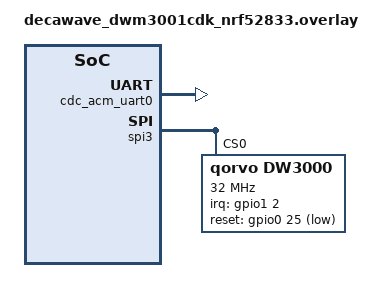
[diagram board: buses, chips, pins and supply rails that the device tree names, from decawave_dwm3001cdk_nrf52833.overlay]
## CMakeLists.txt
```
cmake_minimum_required(VERSION 3.20.0)
find_package(Zephyr REQUIRED HINTS $ENV{ZEPHYR_BASE})

project(mn-DWM3001CDK-basics)

add_subdirectory(lib/dwt_uwb_driver)

target_sources(app PRIVATE 
    src/main.c
    src/threads/dw3000_thread.c
)

target_include_directories(app PRIVATE src/threads/include)

target_link_libraries(app PRIVATE uwb_driver)
```

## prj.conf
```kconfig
CONFIG_SPI=y

CONFIG_LOG=y
CONFIG_LOG_DEFAULT_LEVEL=3

CONFIG_PRINTK=y
CONFIG_MAIN_STACK_SIZE=4096
CONFIG_CBPRINTF_FP_SUPPORT=y

CONFIG_USB_DEVICE_STACK=y

CONFIG_CONSOLE=y
CONFIG_UART_LINE_CTRL=y
CONFIG_LOG_MODE_IMMEDIATE=y

CONFIG_EVENTS=y
CONFIG_ENTROPY_GENERATOR=y
```

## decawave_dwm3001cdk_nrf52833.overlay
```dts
// To get started, press Ctrl+Space to bring up the completion menu and view the available nodes.

// You can also use the buttons in the sidebar to perform actions on nodes.
// Actions currently available include:

// * Enabling / disabling the node
// * Adding the bus to a bus
// * Removing the node
// * Connecting ADC channels

// For more help, browse the DeviceTree documentation at https: //docs.zephyrproject.org/latest/guides/dts/index.html
// You can also visit the nRF DeviceTree extension documentation at https: //docs.nordicsemi.com/bundle/nrf-connect-vscode/page/guides/ncs_configure_app.html#devicetree-support-in-the-extension
/ {
    chosen {
        zephyr,console = &cdc_acm_uart0;
        zephyr,shell-uart = &cdc_acm_uart0;
    };
};

&zephyr_udc0 {
    cdc_acm_uart0: cdc_acm_uart0 {
        compatible = "zephyr,cdc-acm-uart";
    };
};

&spi3 {
    dw3000: dw3000@0 {
        compatible = "qorvo,dw3000";
        spi-max-frequency = <32000000>;
        spi-min-frequency = <2000000>;
        reg = <0>;
        irq-gpios = <&gpio1 2 GPIO_ACTIVE_HIGH>;
        reset-gpios = <&gpio0 25 GPIO_ACTIVE_LOW>;

        // dwt_config_t default values:
        chan = <5>;
        txcode = <9>;
        rxcode = <9>;
        sfdtype = <1>;
        datarate = <0>;
        txpreamblength = <1024>;
        rxpac = <1>;
        phrmode = <0>;
        phrrate = <0>;
        stsmode = <0>;
        stslength = <7>;
        pdoamode = <0>;
    };
};
```

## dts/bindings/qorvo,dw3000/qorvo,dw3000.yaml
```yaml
description: Qorvo DW3000

compatible: "qorvo,dw3000"

include: spi-device.yaml

properties:
  reset-gpios:
    type: phandle-array
    required: true
    description: DW_RST, reset pin (active low)

  irq-gpios:
    type: phandle-array
    required: true
    description: DW_IRQ, interrupt pin (active high)

  spi-min-frequency:
    type: int
    required: true
    default: 2000000
    description: DW3000 slow rate for board initialization, in Hz.

  chan:
    type: int
    required: true
    default: 5
    enum:
      - 5 # 6489.6 MHz PRF
      - 9 # 7987.2 MHz PRF
    description: |
      The chan parameter sets the UWB channel number, (defining the centre 
      frequency and bandwidth). The supported channels are 5 (6489.6 MHz PRF)
      and 9 (7987.2 MHz PRF).

  txcode:
    type: int
    required: true
    default: 9
    enum:
      - 3 # 16 MHz PRF
      - 4 # 16 MHz PRF
      - 9 # 64 MHz PRF
      - 10 # 64 MHz PRF
      - 11 # 64 MHz PRF
      - 12 # 64 MHz PRF
      - 25 # SCP
      - 26 # SCP
      - 27 # SCP
      - 29 # SCP
      - 29 # SCP
    description: |
      The txCode and rxCode parameters select the preamble codes to use in the
      transmitter and the receiver; these are generally both set to the same 
      values.  For correct operation of the device, the selected preamble code
      should follow the rules of IEEE 802.15.4-2015 UWB with respect to which
      codes are allowed in the particular channel and PRF configuration, this
      is shown in Table 2 in the DW3XXX Software API Guide. The code will also
      define the PRF (pulse repetition frequency) used.

  rxcode:
    type: int
    required: true
    default: 9
    enum:
      - 3 # 16 MHz PRF
      - 4 # 16 MHz PRF
      - 9 # 64 MHz PRF
      - 10 # 64 MHz PRF
      - 11 # 64 MHz PRF
      - 12 # 64 MHz PRF
      - 25 # SCP
      - 26 # SCP
      - 27 # SCP
      - 29 # SCP
      - 29 # SCP
    description: |
      See txCode above.  Generally set the same as txCode.

  sfdtype:
    type: int
    required: true
    default: 1
    enum:
      - 0 # IEEE 8-bit ternary
      - 1 # Qorvo proprietary 8-bit
      - 2 # Qorvo proprietary 16-bit
      - 3 # IEEE 8-bit binary (4z)
      - 8 # IEEE, and Qorvo 8-bit are length 8
      - 16 # Qorvo 16-bit is length 16
    description: |
      The sfdType parameter enables the use of one of 4 possible SFD (Start 
      Frame Delimiter) sequences. The supported values are: 0 - short IEEE 
      8-bit standard, 1 - DW 8-bit, 2 - DW 16-bit, 3 - 4z BPRF) DW 8 and 16 
      bit sequences, which Decawave has found to be more robust than that 
      specified in the IEEE 802.15.4 standard, give improved performance.

  datarate:
    type: int
    required: true
    default: 0
    enum:
      - 0 # 850 kbps
      - 1 # 6.8 Mbps
      - 2 # No data (SP3 packet format)
    description: |
      The dataRate parameter specifies the data rate to be one of 850kbps or
      6800kbps, via symbolic definitions DWT_BR_850K and DWT_BR_6M8.

  txpreamblength:
    type: int
    required: true
    default: 1024
    enum:
      - 16
      - 32
      - 64 # standard
      - 128
      - 256
      - 512
      - 1024 # standard
      - 1536
      - 2048
      - 4096 # standard
    description: |
      The txPreambLength parameter specifies preamble length which has a range
      of values given by symbolic definitions: DWT_PLEN_4096, DWT_PLEN_2048,
      DWT_PLEN_1536, DWT_PLEN_1024, DWT_PLEN_512, DWT_PLEN_256,
      DWT_PLEN_128, DWT_PLEN_64, DWT_PLEN_32. Table 3 in the DW3XXX Software
      API Guide gives recommended preamble sequence lengths to use depending 
      on the data rate. 

  rxpac:
    type: int
    required: true
    default: 1
    enum:
      - 0 # PAC 8 (txPreambLength >= 64, data rate 6.81 Mbps)
      - 1 # PAC 16 (txPreambLength >= 128, data rate 850 kbps)
      - 2 # PAC 32 (txPreambLength == 512)
      - 3 # PAC 4 (txPreambLength == 32, data rate 6.81 Mbps)
    description: |
      The rxPAC parameter specifies the Preamble Acquisition Chunk size to use.
      Allowed values are DWT_PAC8 (0), DWT_PAC16 (1), DWT_PAC32 (2) or 
      DWT_PAC4 (3).  Table 4 in the DW3XXX Software API Guide gives the 
      recommended PAC size to use in the receiver depending on the preamble 
      length being used in the transmitter. PAC size is specified in preamble 
      symbols, which are approximately 1 µs each.

  phrmode:
    type: int
    required: true
    default: 0
    enum:
      - 0 # standard PHR mode (frame length of 5 - 127)
      - 1 # extended PHR mode (frame length of 5 - 1023)
    description: |
      The phrMode parameter selects between either the standard or extended PHR
      mode is set, either DWT_PHRMODE_STD (0) for standard length frames 5 to
      127 octets long or non-standard DWT_PHRMODE_EXT (1) allowing frames of 
      length 5 to 1023 octets long.

  phrrate:
    type: int
    required: true
    default: 0
    enum:
      - 0 # standard PHR rate, 850 kbps
      - 1 # PHR sent at data rate, 6.8 Mbps
    description: |
      The phrRate parameter selects between either using the standard 850 kbps
      rate for PHR symbols or using a higher rate; same as the data rate.

  sfdto:
    type: int
    required: false
    default: 1017 # default txPreambLength + 1 + sfdType length - rxPAC
    description: |
      The sfdTO parameter sets the SFD timeout value. The purpose of the SFD
      detection timeout is to recover from the occasional false preamble 
      detection events that may occur. By default, this value is 
      4096 + 64 + 1 symbols, which is just longer the longest possible preamble 
      and SFD sequence. This is the maximum value that is sensible. When it is 
      known that a shorter preamble is being used then the value can be reduced 
      appropriately. The function does not allow a value of zero. (If a 0 value 
      is selected the default value of 4161 symbols (DWT_SFDTOC_DEF) will be 
      used). The recommended value is:
        preamble length + 1 + SFD length \- PAC size.

  stsmode:
    type: int
    required: true
    default: 0
    enum:
      - 0 # STS is off (SP0)
      - 1 # STS mode 1 (SP1)
      - 2 # STS mode 2 (SP2)
      - 3 # STS with no data (SP3)
      - 8 # enable super deterministic codes
      - 11
    description: |
      The stsMode parameter sets one of four possible STS modes: no STS, STS
      before PHR, STS after data, or no data mode.

  stslength:
    type: int
    required: true
    default: 7
    enum:
      - 1 # DWT_STS_LEN_16
      - 3 # DWT_STS_LEN_32
      - 7 # DWT_STS_LEN_64
      - 15 # DWT_STS_LEN_128
      - 31 # DWT_STS_LEN_256
      - 63 # DWT_STS_LEN_512
      - 127 # DWT_STS_LEN_1024
      - 255 # DWT_STS_LEN_2048
    description: |
      The stsLength parameter specifies STS length. The API supports the 
      lengths defined by the dwt_sts_lengths_e. 

  pdoamode:
    type: int
    required: true
    default: 0
    enum:
      - 0 # PDOA off
      - 1 # PDOA mode 1
      - 3 # PDOA mode 3
    description: |
      The pdoaMode parameter configures one of three possible PDOA modes: no
      PDOA, mode 1 (PDOA is calculated between Ipatov POA and STS POA), mode
      3 (PDOA is calculated between two STS blocks
```

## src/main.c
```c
#include <zephyr/kernel.h>
#include <zephyr/logging/log.h>
#include <zephyr/usb/usb_device.h>

#include "dw3000_thread.h"

LOG_MODULE_REGISTER(main_thread, LOG_LEVEL_INF);

#define DW3000_THREAD_STACK_SIZE 4096
K_THREAD_STACK_DEFINE(dw3000_thread_stack, DW3000_THREAD_STACK_SIZE)

struct k_event usb_event = {0};

enum usb_events
{
    DW3000_USB_CONNECTED = 1,
};

void usb_state_callback(enum usb_dc_status_code cb_status, const uint8_t* param)
{
    switch (cb_status)
    {
    case USB_DC_CONNECTED:
        LOG_INF("USB connected, this DW3000 is an initiator.");
        k_event_post(&usb_event, DW3000_USB_CONNECTED);

        break;

    default:
        break;
    }
}

int usb_initialize(bool* is_initiator)
{
    k_event_init(&usb_event);
    if (usb_enable(usb_state_callback) != 0)
    {
        LOG_ERR("USB enable failed");

        return -1;
    }

    uint32_t event_match =
        k_event_wait(&usb_event, DW3000_USB_CONNECTED, false, K_MSEC(500));
    *is_initiator = event_match == DW3000_USB_CONNECTED ? true : false;

    return 0;
}

int main(void)
{
    bool is_initiator = false;
    if (usb_initialize(&is_initiator) != 0)
    {
        return -1;
    }

    struct k_thread dw3000_thread_handle = {0};
    k_thread_create(&dw3000_thread_handle, dw3000_thread_stack,
        DW3000_THREAD_STACK_SIZE, dw3000_thread, (void*)&is_initiator, NULL,
        NULL, 1, 0, K_NO_WAIT);

    while (true)
    {
        k_sleep(K_FOREVER);
    }

    return 0;
}
```
